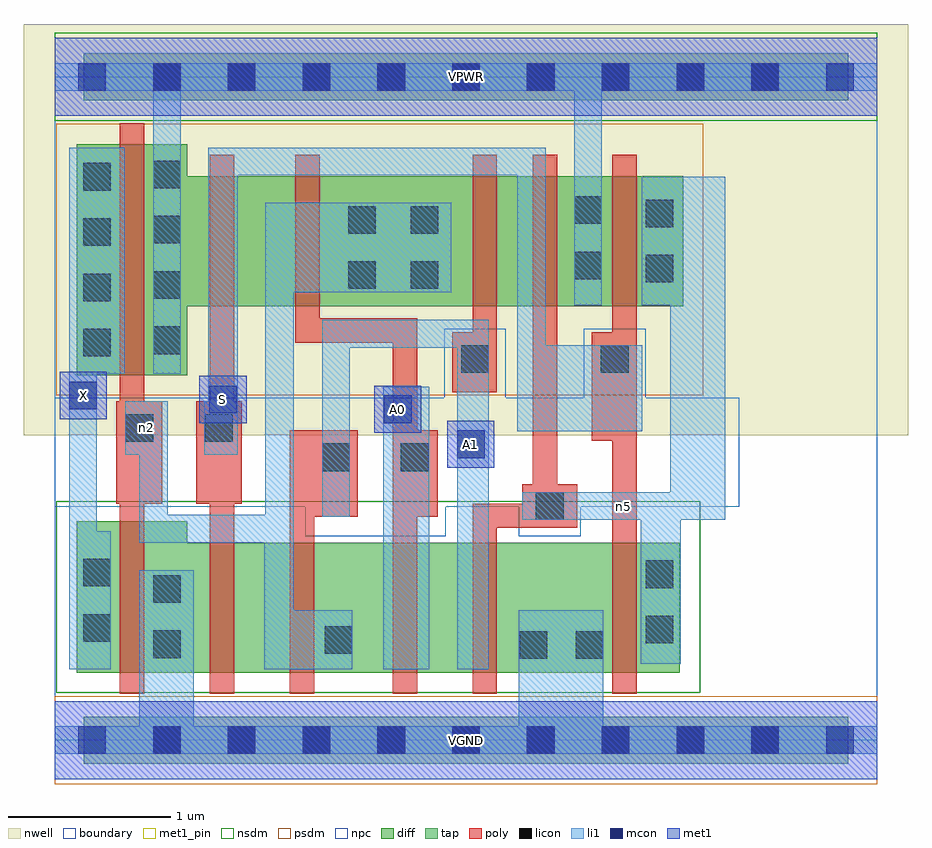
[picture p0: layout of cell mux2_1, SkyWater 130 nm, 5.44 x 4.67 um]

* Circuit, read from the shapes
.subckt mux2_1 A0 A1 S VGND VPWR X n2 n5
XM1 VGND n2 X VGND sky130_fd_pr__nfet_01v8 w=0.93 l=0.15
XM2 n1 S VGND VGND sky130_fd_pr__nfet_01v8 w=0.8 l=0.15
XM3 n2 A1 n1 VGND sky130_fd_pr__nfet_01v8 w=0.8 l=0.15
XM4 n3 A0 n2 VGND sky130_fd_pr__nfet_01v8 w=0.8 l=0.15
XM5 VGND n5 n3 VGND sky130_fd_pr__nfet_01v8 w=0.8 l=0.15
XM6 n5 S VGND VGND sky130_fd_pr__nfet_01v8 w=0.8 l=0.15
XM7 VPWR n2 X VPWR sky130_fd_pr__pfet_01v8 w=1.42 l=0.15
XM8 n4 S VPWR VPWR sky130_fd_pr__pfet_01v8 w=0.8 l=0.15
XM9 n2 A0 n4 VPWR sky130_fd_pr__pfet_01v8 w=0.8 l=0.15
XM10 n6 A1 n2 VPWR sky130_fd_pr__pfet_01v8 w=0.8 l=0.15
XM11 VPWR n5 n6 VPWR sky130_fd_pr__pfet_01v8 w=0.8 l=0.15
XM12 n5 S VPWR VPWR sky130_fd_pr__pfet_01v8 w=0.8 l=0.15
.ends

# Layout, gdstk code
import gdstk
lib = gdstk.Library(unit=1e-6, precision=1e-09)
def R(c, l, rs):  # rectangles x0, y0, x1, y1
    for r in rs: c.add(gdstk.rectangle(r[:2], r[2:], *l))
def A(c, l, x, y, w, h, nx, ny, dx, dy):  # array of equal rectangles
    R(c, l, [(x+i*dx, y+j*dy, x+i*dx+w, y+j*dy+h) for i in range(nx) for j in range(ny)])
nwell = (64, 20)
diff = (65, 20)
tap = (65, 44)
poly = (66, 20)
licon = (66, 44)
li1 = (67, 20)
mcon = (67, 44)
met1_pin = (68, 16)
met1 = (68, 20)
nsdm = (93, 44)
psdm = (94, 20)
npc = (95, 20)
boundary = (235, 4)

mux2_1 = lib.new_cell('mux2_1')
R(mux2_1, nwell, [(-0.19,1.875,5.25,4.405), (0,1.875,5.06,4.405)])
R(mux2_1, diff, [(0.135,0.415,3.845,1.215), (0.135,0.415,0.815,1.345), (0.135,2.245,0.815,3.665), (0.135,2.67,3.865,3.47)])
R(mux2_1, tap, [(0.18,-0.145,4.88,0.145), (0.18,3.935,4.88,4.225)])
R(mux2_1, poly, [(0.4,0.285,0.55,3.795), (0.955,0.285,1.105,3.6), (1.445,0.285,1.595,1.905), (2.08,0.285,2.23,2.595), (2.57,0.285,2.72,1.455), (3.43,0.285,3.58,3.6), (2.57,1.305,3.215,1.455), (2.875,1.305,3.215,1.575), (2.94,1.305,3.09,3.6), (1.445,1.375,1.865,1.905), (2.08,1.375,2.355,1.905), (0.38,1.455,0.66,2.085), (0.87,1.455,1.15,2.085), (3.305,1.84,3.58,2.51), (2.445,2.14,2.72,2.51), (2.57,2.14,2.72,3.6), (1.48,2.445,1.63,3.6), (1.48,2.445,2.23,2.595)])
A(mux2_1, licon, 0.605, -0.085, 0.17, 0.17, 9, 2, 0.46, 4.08)
A(mux2_1, licon, 0.175, 2.36, 0.17, 0.17, 1, 4, 0, 0.34)
A(mux2_1, licon, 0.605, 2.375, 0.17, 0.17, 1, 4, 0, 0.34)
R(mux2_1, licon, [(2.86,0.5,3.03,0.67), (3.205,0.5,3.375,0.67), (0.605,0.505,0.775,0.675), (1.66,0.53,1.83,0.7), (3.635,0.595,3.805,0.765), (0.175,0.605,0.345,0.775), (0.605,0.845,0.775,1.015), (3.635,0.935,3.805,1.105), (0.175,0.945,0.345,1.115), (2.96,1.355,3.13,1.525), (1.645,1.655,1.815,1.825), (2.13,1.655,2.3,1.825), (0.435,1.835,0.605,2.005), (0.925,1.835,1.095,2.005), (2.5,2.26,2.67,2.43), (3.36,2.26,3.53,2.43), (1.805,2.775,1.975,2.945), (2.19,2.775,2.36,2.945), (3.635,2.815,3.805,2.985), (3.195,2.835,3.365,3.005), (1.805,3.115,1.975,3.285), (2.19,3.115,2.36,3.285), (3.635,3.155,3.805,3.325), (3.195,3.175,3.365,3.345)])
R(mux2_1, li1, [(0,-0.085,5.06,0.085), (0.52,-0.085,0.855,1.045), (2.855,-0.085,3.375,0.8), (0.09,0.435,0.26,3.645), (0.09,0.435,0.345,1.285), (1.29,0.435,1.83,0.8), (1.29,0.435,1.47,1.385), (1.295,0.435,1.47,3.305), (2.02,0.435,2.305,2.175), (2.475,0.435,2.67,2.585), (3.605,0.47,3.85,1.525), (0.52,1.215,1.47,1.385), (0.52,1.215,0.695,2.085), (2.875,1.355,4.125,1.525), (3.785,1.355,4.125,3.465), (1.645,1.375,1.815,2.585), (0.435,1.755,0.695,2.085), (0.92,1.755,1.125,2.085), (0.945,1.755,1.125,3.645), (2.845,1.9,3.02,3.645), (2.845,1.9,3.615,2.43), (0.09,2.255,0.43,3.645), (0.605,2.255,0.775,4.165), (1.645,2.415,2.67,2.585), (3.195,2.675,3.365,4.165), (3.61,2.675,4.125,3.465), (1.295,2.755,2.44,3.305), (0.945,3.475,3.02,3.645), (0,3.995,5.06,4.165)])
A(mux2_1, mcon, 0.145, -0.085, 0.17, 0.17, 11, 2, 0.46, 4.08)
R(mux2_1, mcon, [(2.475,1.735,2.645,1.905), (2.025,1.95,2.195,2.12), (0.95,2.01,1.12,2.18), (0.09,2.035,0.26,2.205)])
R(mux2_1, met1_pin, [(0,-0.24,5.06,0.24), (2.415,1.675,2.705,1.965), (1.965,1.89,2.255,2.18), (0.89,1.95,1.18,2.24), (0.03,1.975,0.32,2.265), (0,3.84,5.06,4.32)])
R(mux2_1, met1, [(0,-0.24,5.06,0.24), (2.415,1.675,2.705,1.965), (1.965,1.89,2.255,2.18), (0.89,1.95,1.18,2.24), (0.03,1.975,0.32,2.265), (0,3.84,5.06,4.32)])
R(mux2_1, nsdm, [(0.01,0.29,3.97,1.47), (0,3.81,5.06,4.35)])
R(mux2_1, psdm, [(0,-0.27,5.06,0.27), (0.01,2.12,3.99,3.79)])
R(mux2_1, npc, [(1.54,1.255,2.405,2.105), (2.855,1.255,3.235,2.105), (0,1.435,4.21,2.105), (2.395,1.435,2.775,2.53), (3.255,1.435,3.635,2.53)])
R(mux2_1, boundary, [(0,0,5.06,4.08)])
mux2_1.add(gdstk.Label('n2', (0.565,1.92), layer=67, texttype=5))
mux2_1.add(gdstk.Label('n5', (3.5,1.44), layer=67, texttype=5))
mux2_1.add(gdstk.Label('A0', (2.11,2.035), layer=68, texttype=5))
mux2_1.add(gdstk.Label('A1', (2.56,1.82), layer=68, texttype=5))
mux2_1.add(gdstk.Label('S', (1.035,2.095), layer=68, texttype=5))
mux2_1.add(gdstk.Label('X', (0.175,2.12), layer=68, texttype=5))
mux2_1.add(gdstk.Label('VPWR', (2.53,4.08), layer=68, texttype=5))
mux2_1.add(gdstk.Label('VGND', (2.53,0), layer=68, texttype=5))
mux2_1.add(gdstk.Label('A0', (2.11,2.035), layer=68, texttype=16))
mux2_1.add(gdstk.Label('A1', (2.56,1.82), layer=68, texttype=16))
mux2_1.add(gdstk.Label('S', (1.035,2.095), layer=68, texttype=16))
mux2_1.add(gdstk.Label('X', (0.175,2.12), layer=68, texttype=16))
mux2_1.add(gdstk.Label('VPWR', (2.53,4.08), layer=68, texttype=16))
mux2_1.add(gdstk.Label('VGND', (2.53,0), layer=68, texttype=16))

lib.write_gds('mux2_1.gds')
